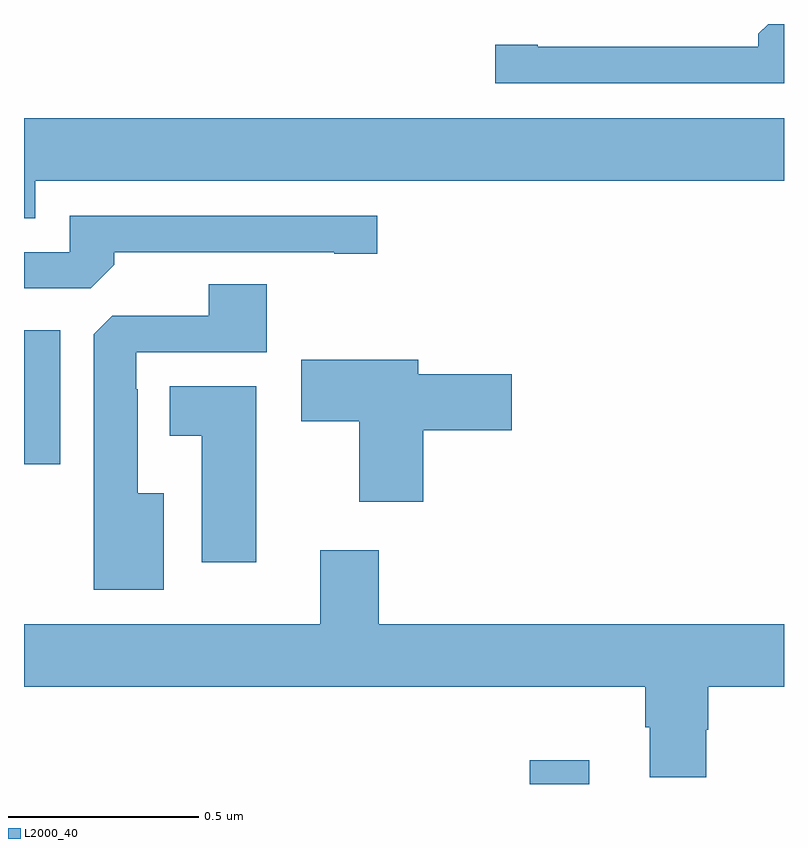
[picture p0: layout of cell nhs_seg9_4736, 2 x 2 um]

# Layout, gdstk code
import gdstk
lib = gdstk.Library(unit=1e-6, precision=1e-09)
def R(c, l, rs):  # rectangles x0, y0, x1, y1
    for r in rs: c.add(gdstk.rectangle(r[:2], r[2:], *l))
def P(c, l, *ps):  # polygons
    for p in ps: c.add(gdstk.Polygon(p, *l))
L2000_40 = (2000, 40)

nhs_seg9_4736 = lib.new_cell('nhs_seg9_4736')
R(nhs_seg9_4736, L2000_40, [(171.331,1193.5,171.487,1193.563), (170,1194.341,170.095,1194.694)])
P(nhs_seg9_4736, L2000_40, [(172,1195.5),(171.958,1195.5),(171.932,1195.474),(171.932,1195.44),(171.352,1195.44),(171.352,1195.445),(171.24,1195.445),(171.24,1195.344),(172,1195.344)],
  [(170.029,1195.088),(172,1195.088),(172,1195.252),(170,1195.252),(170,1194.989),(170.029,1194.989)],
  [(170.237,1194.866),(170.237,1194.9),(170.816,1194.9),(170.816,1194.895),(170.929,1194.895),(170.929,1194.996),(170.121,1194.996),(170.121,1194.9),(170,1194.9),(170,1194.804),(170.175,1194.804)],
  [(170.368,1194.265),(170.299,1194.265),(170.299,1194.539),(170.295,1194.539),(170.295,1194.636),(170.639,1194.636),(170.639,1194.815),(170.486,1194.815),(170.486,1194.732),(170.232,1194.732),(170.183,1194.683),(170.183,1194.011),(170.368,1194.011)],
  [(171.05,1194.431),(171.283,1194.431),(171.283,1194.578),(171.037,1194.578),(171.037,1194.616),(170.73,1194.616),(170.73,1194.454),(170.882,1194.454),(170.882,1194.243),(171.05,1194.243)],
  [(170.611,1194.547),(170.384,1194.547),(170.384,1194.416),(170.468,1194.416),(170.468,1194.084),(170.611,1194.084)],
  [(171.795,1193.643),(171.8,1193.643),(171.8,1193.756),(172,1193.756),(172,1193.92),(170.933,1193.92),(170.933,1194.115),(170.78,1194.115),(170.78,1193.92),(170,1193.92),(170,1193.756),(171.635,1193.756),(171.635,1193.65),(171.647,1193.65),(171.647,1193.518),(171.795,1193.518)])

lib.write_gds('nhs_seg9_4736.gds')
